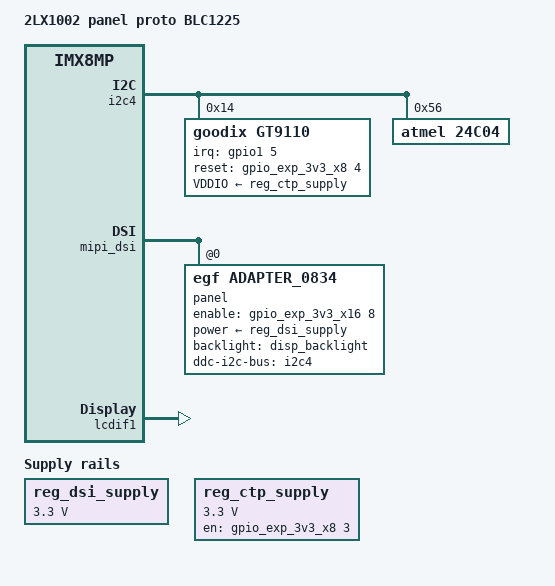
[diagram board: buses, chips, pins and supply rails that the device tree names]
/dts-v1/;

#include "imx8mp-egf-2lx100x.dtsi"

/ {
	model = "2LX1002 panel proto BLC1225";
	compatible = "fsl,imx8mp";

	reg_dsi_supply: regulator-3v3-dsi{
		compatible = "regulator-fixed";
		regulator-name = "DSI-3V3";
		regulator-min-microvolt = <3300000>;
		regulator-max-microvolt = <3300000>;
	};

	reg_ctp_supply: regulator-3v3-ctp {
		compatible = "regulator-fixed";
		regulator-name = "VCC_3V3_CTP";
		gpio = <&gpio_exp_3v3_x8 3 GPIO_ACTIVE_HIGH>;
		regulator-min-microvolt = <3300000>;
		regulator-max-microvolt = <3300000>;
		enable-active-high;
		regulator-always-on;
	};
};

&i2c4 {
	gt9110@14 {
		compatible = "goodix,gt9110";
		reg = <0x14>;
		pinctrl-names = "default";
		pinctrl-0 = <&pinctrl_ts>;
		VDDIO-supply = <&reg_ctp_supply>;
		edge-failling-trigger;
		interrupt-parent = <&gpio1>;
		interrupts = <5 IRQ_TYPE_EDGE_FALLING>;
		irq-gpios = <&gpio1 5 GPIO_ACTIVE_HIGH>;
		reset-gpios = <&gpio_exp_3v3_x8 4 GPIO_ACTIVE_HIGH>;
	};	

	// EEPROM display
	24c04@56 {
		compatible = "atmel,24c04";
		reg = <0x56>;
		pagesize = <16>;
	};
};

&mipi_dsi {
	status = "okay";
	panel@0 {
		compatible = "egf,adapter_0834";
		reg = <0>;
		dsi-lanes = <4>;
		pinctrl-names = "default";
		ddc-i2c-bus = <&i2c4>;	
		backlight = <&disp_backlight>;	
		enable-gpio = <&gpio_exp_3v3_x16 8 GPIO_ACTIVE_HIGH>;
		power-supply =  <&reg_dsi_supply>;
		status = "okay";
	};
};

&lcdif1 {
	status = "okay";
};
